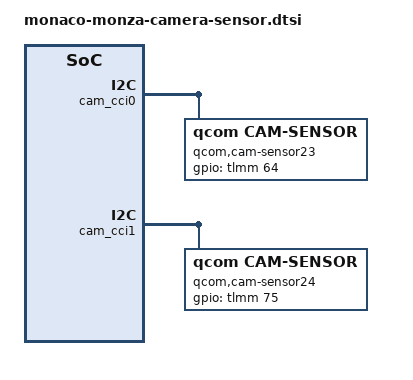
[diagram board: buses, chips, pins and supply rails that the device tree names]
// SPDX-License-Identifier: BSD-3-Clause
/*
 * Copyright (c) Qualcomm Technologies, Inc. and/or its subsidiaries.
 */
#include <dt-bindings/msm-camera.h>

&soc {
	qcom,cam-res-mgr {
		compatible = "qcom,cam-res-mgr";
		status = "ok";
		gpios-shared = <609 610 611>;
	};
};

&tlmm {
	camera_mux0_active: camera_mux0_active {
		pins = "gpio24";
		function = "gpio";
		bias-pull-down;
		drive-strength = <2>;
		output-low;
	};

	camera_mux0_suspend: camera_mux0_suspend {
		pins = "gpio24";
		function = "gpio";
		bias-disable;
		drive-strength = <2>;
	};

	camera_mux1_active: camera_mux1_active {
		pins = "gpio41";
		function = "gpio";
		bias-pull-down;
		drive-strength = <2>;
		output-low;
	};

	camera_mux1_suspend: camera_mux1_suspend {
		pins = "gpio41";
		function = "gpio";
		bias-disable;
		drive-strength = <2>;
	};
};

&cam_cci0 {
	/*cam0-imx577*/
	qcom,cam-sensor23 {
		cell-index = <23>;
		compatible = "qcom,cam-sensor";
		csiphy-sd-index = <0>;
		sensor-position-roll = <0>;
		sensor-position-pitch = <0>;
		sensor-position-yaw = <180>;
		regulator-names = "cam_vio";
		power-domains = <&camcc CAM_CC_TITAN_TOP_GDSC>;
		rgltr-cntrl-support;
		pwm-switch;
		rgltr-min-voltage = <1800000>;
		rgltr-max-voltage = <1800000>;
		rgltr-load-current = <120000>;
		gpio-no-mux = <0>;
		pinctrl-names = "cam_default", "cam_suspend";
		pinctrl-0 = <&cam_sensor_active_rst0
				&camera_mux0_active>;
		pinctrl-1 = <&cam_sensor_suspend_rst0
				&camera_mux0_suspend>;
		gpios = <&tlmm 64 0>;
		gpio-reset = <0>;
		gpio-req-tbl-num = <0>;
		gpio-req-tbl-flags = <0>;
		gpio-req-tbl-label = "CAMIF_RESET0";
		cci-master = <0>;
		status = "ok";
	};
};


&cam_cci1 {
	/*cam1-imx577*/
	qcom,cam-sensor24 {
		cell-index = <24>;
		compatible = "qcom,cam-sensor";
		csiphy-sd-index = <1>;
		sensor-position-roll = <0>;
		sensor-position-pitch = <0>;
		sensor-position-yaw = <180>;
		regulator-names = "cam_vio";
		power-domains = <&camcc CAM_CC_TITAN_TOP_GDSC>;
		rgltr-cntrl-support;
		pwm-switch;
		rgltr-min-voltage = <1800000>;
		rgltr-max-voltage = <1800000>;
		rgltr-load-current = <120000>;
		gpio-no-mux = <0>;
		pinctrl-names = "cam_default", "cam_suspend";
		pinctrl-0 = <&cam_sensor_active_rst1
				&camera_mux1_active>;
		pinctrl-1 = <&cam_sensor_suspend_rst1
				&camera_mux1_suspend>;
		gpios = <&tlmm 75 0>;
		gpio-reset = <0>;
		gpio-req-tbl-num = <0>;
		gpio-req-tbl-flags = <0>;
		gpio-req-tbl-label = "CAMIF_RESET1";
		cci-master = <0>;
		status = "ok";
	};
};
